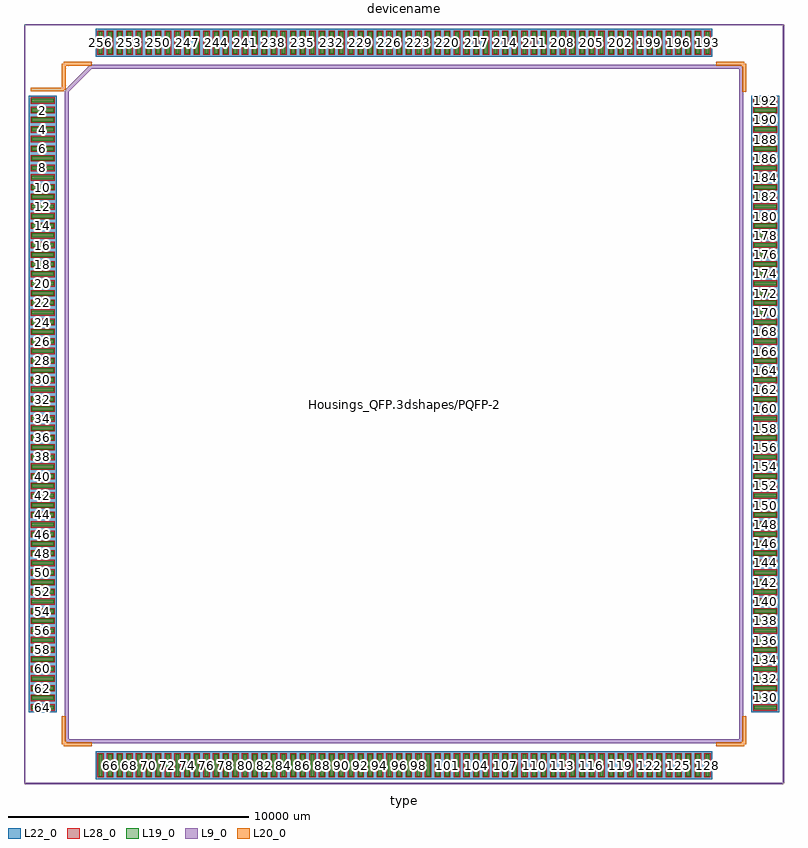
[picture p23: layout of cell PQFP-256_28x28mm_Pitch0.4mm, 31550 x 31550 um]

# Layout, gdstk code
import gdstk
lib = gdstk.Library(unit=1e-6, precision=1e-09)
def R(c, l, rs):  # rectangles x0, y0, x1, y1
    for r in rs: c.add(gdstk.rectangle(r[:2], r[2:], *l))
def A(c, l, x, y, w, h, nx, ny, dx, dy):  # array of equal rectangles
    R(c, l, [(x+i*dx, y+j*dy, x+i*dx+w, y+j*dy+h) for i in range(nx) for j in range(ny)])
L9_0 = (9, 0)
L19_0 = (19, 0)
L20_0 = (20, 0)
L22_0 = (22, 0)
L28_0 = (28, 0)

pqfp_256_28x28mm_pitch0_ = lib.new_cell('PQFP-256_28x28mm_Pitch0.4mm')
A(pqfp_256_28x28mm_pitch0_, L19_0, -12680, -15450, 160, 900, 64, 2, 400, 30000)
A(pqfp_256_28x28mm_pitch0_, L19_0, -15450, -12680, 900, 160, 1, 64, 0, 400)
A(pqfp_256_28x28mm_pitch0_, L19_0, 14550, -12680, 900, 160, 1, 64, 0, 400)
A(pqfp_256_28x28mm_pitch0_, L22_0, -12805, -15575, 410, 1150, 64, 2, 400, 30000)
A(pqfp_256_28x28mm_pitch0_, L22_0, -15575, -12805, 1150, 410, 1, 64, 0, 400)
A(pqfp_256_28x28mm_pitch0_, L22_0, 14425, -12805, 1150, 410, 1, 64, 0, 400)
A(pqfp_256_28x28mm_pitch0_, L28_0, -12730, -15500, 260, 1000, 64, 2, 400, 30000)
A(pqfp_256_28x28mm_pitch0_, L28_0, -15500, -12730, 1000, 260, 1, 64, 0, 400)
A(pqfp_256_28x28mm_pitch0_, L28_0, 14500, -12730, 1000, 260, 1, 64, 0, 400)
pqfp_256_28x28mm_pitch0_.add(gdstk.FlexPath([(-14125,13050),(-15500,13050)], 149.998, ends="flush", simple_path=True, layer=20, datatype=0))  # L20_0
pqfp_256_28x28mm_pitch0_.add(gdstk.FlexPath([(14125,14125),(12955,14125)], 149.998, ends="flush", simple_path=True, layer=20, datatype=0))  # L20_0
pqfp_256_28x28mm_pitch0_.add(gdstk.FlexPath([(14125,-14125),(12955,-14125)], 149.998, ends="flush", simple_path=True, layer=20, datatype=0))  # L20_0
pqfp_256_28x28mm_pitch0_.add(gdstk.FlexPath([(-14125,-14125),(-12955,-14125)], 149.998, ends="flush", simple_path=True, layer=20, datatype=0))  # L20_0
pqfp_256_28x28mm_pitch0_.add(gdstk.FlexPath([(-14125,14125),(-12955,14125)], 149.998, ends="flush", simple_path=True, layer=20, datatype=0))  # L20_0
pqfp_256_28x28mm_pitch0_.add(gdstk.FlexPath([(-14125,-14125),(-14125,-12955)], 149.998, ends="flush", simple_path=True, layer=20, datatype=0))  # L20_0
pqfp_256_28x28mm_pitch0_.add(gdstk.FlexPath([(14125,-14125),(14125,-12955)], 149.998, ends="flush", simple_path=True, layer=20, datatype=0))  # L20_0
pqfp_256_28x28mm_pitch0_.add(gdstk.FlexPath([(14125,14125),(14125,12955)], 149.998, ends="flush", simple_path=True, layer=20, datatype=0))  # L20_0
pqfp_256_28x28mm_pitch0_.add(gdstk.FlexPath([(-14125,14125),(-14125,13050)], 149.998, ends="flush", simple_path=True, layer=20, datatype=0))  # L20_0
pqfp_256_28x28mm_pitch0_.add(gdstk.FlexPath([(-15750,-15750),(15750,-15750)], 50, ends="flush", simple_path=True, layer=9, datatype=0))  # L9_0
pqfp_256_28x28mm_pitch0_.add(gdstk.FlexPath([(-15750,15750),(15750,15750)], 50, ends="flush", simple_path=True, layer=9, datatype=0))  # L9_0
pqfp_256_28x28mm_pitch0_.add(gdstk.FlexPath([(15750,15750),(15750,-15750)], 50, ends="flush", simple_path=True, layer=9, datatype=0))  # L9_0
pqfp_256_28x28mm_pitch0_.add(gdstk.FlexPath([(-15750,15750),(-15750,-15750)], 50, ends="flush", simple_path=True, layer=9, datatype=0))  # L9_0
pqfp_256_28x28mm_pitch0_.add(gdstk.FlexPath([(-14000,13000),(-13000,14000)], 149.998, ends="flush", simple_path=True, layer=9, datatype=0))  # L9_0
pqfp_256_28x28mm_pitch0_.add(gdstk.FlexPath([(-14000,-14000),(-14000,13000)], 149.998, ends="flush", simple_path=True, layer=9, datatype=0))  # L9_0
pqfp_256_28x28mm_pitch0_.add(gdstk.FlexPath([(14000,-14000),(-14000,-14000)], 149.998, ends="flush", simple_path=True, layer=9, datatype=0))  # L9_0
pqfp_256_28x28mm_pitch0_.add(gdstk.FlexPath([(14000,14000),(14000,-14000)], 149.998, ends="flush", simple_path=True, layer=9, datatype=0))  # L9_0
pqfp_256_28x28mm_pitch0_.add(gdstk.FlexPath([(-13000,14000),(14000,14000)], 149.998, ends="flush", simple_path=True, layer=9, datatype=0))  # L9_0
pqfp_256_28x28mm_pitch0_.add(gdstk.Label('Housings_QFP.3dshapes/PQFP-256_28x28mm_Pitch0.4mm.wrl', (0,0), layer=12, texttype=0))
pqfp_256_28x28mm_pitch0_.add(gdstk.Label('256', (-12600,15000), layer=28, texttype=0))
pqfp_256_28x28mm_pitch0_.add(gdstk.Label('255', (-12200,15000), layer=28, texttype=0))
pqfp_256_28x28mm_pitch0_.add(gdstk.Label('254', (-11800,15000), layer=28, texttype=0))
pqfp_256_28x28mm_pitch0_.add(gdstk.Label('253', (-11400,15000), layer=28, texttype=0))
pqfp_256_28x28mm_pitch0_.add(gdstk.Label('252', (-11000,15000), layer=28, texttype=0))
pqfp_256_28x28mm_pitch0_.add(gdstk.Label('251', (-10600,15000), layer=28, texttype=0))
pqfp_256_28x28mm_pitch0_.add(gdstk.Label('250', (-10200,15000), layer=28, texttype=0))
pqfp_256_28x28mm_pitch0_.add(gdstk.Label('249', (-9800,15000), layer=28, texttype=0))
pqfp_256_28x28mm_pitch0_.add(gdstk.Label('248', (-9400,15000), layer=28, texttype=0))
pqfp_256_28x28mm_pitch0_.add(gdstk.Label('247', (-9000,15000), layer=28, texttype=0))
pqfp_256_28x28mm_pitch0_.add(gdstk.Label('246', (-8600,15000), layer=28, texttype=0))
pqfp_256_28x28mm_pitch0_.add(gdstk.Label('245', (-8200,15000), layer=28, texttype=0))
pqfp_256_28x28mm_pitch0_.add(gdstk.Label('244', (-7800,15000), layer=28, texttype=0))
pqfp_256_28x28mm_pitch0_.add(gdstk.Label('243', (-7400,15000), layer=28, texttype=0))
pqfp_256_28x28mm_pitch0_.add(gdstk.Label('242', (-7000,15000), layer=28, texttype=0))
pqfp_256_28x28mm_pitch0_.add(gdstk.Label('241', (-6600,15000), layer=28, texttype=0))
pqfp_256_28x28mm_pitch0_.add(gdstk.Label('240', (-6200,15000), layer=28, texttype=0))
pqfp_256_28x28mm_pitch0_.add(gdstk.Label('239', (-5800,15000), layer=28, texttype=0))
pqfp_256_28x28mm_pitch0_.add(gdstk.Label('238', (-5400,15000), layer=28, texttype=0))
pqfp_256_28x28mm_pitch0_.add(gdstk.Label('237', (-5000,15000), layer=28, texttype=0))
pqfp_256_28x28mm_pitch0_.add(gdstk.Label('236', (-4600,15000), layer=28, texttype=0))
pqfp_256_28x28mm_pitch0_.add(gdstk.Label('235', (-4200,15000), layer=28, texttype=0))
pqfp_256_28x28mm_pitch0_.add(gdstk.Label('234', (-3800,15000), layer=28, texttype=0))
pqfp_256_28x28mm_pitch0_.add(gdstk.Label('233', (-3400,15000), layer=28, texttype=0))
pqfp_256_28x28mm_pitch0_.add(gdstk.Label('232', (-3000,15000), layer=28, texttype=0))
pqfp_256_28x28mm_pitch0_.add(gdstk.Label('231', (-2600,15000), layer=28, texttype=0))
pqfp_256_28x28mm_pitch0_.add(gdstk.Label('230', (-2200,15000), layer=28, texttype=0))
pqfp_256_28x28mm_pitch0_.add(gdstk.Label('229', (-1800,15000), layer=28, texttype=0))
pqfp_256_28x28mm_pitch0_.add(gdstk.Label('228', (-1400,15000), layer=28, texttype=0))
pqfp_256_28x28mm_pitch0_.add(gdstk.Label('227', (-1000,15000), layer=28, texttype=0))
pqfp_256_28x28mm_pitch0_.add(gdstk.Label('226', (-600,15000), layer=28, texttype=0))
pqfp_256_28x28mm_pitch0_.add(gdstk.Label('225', (-200,15000), layer=28, texttype=0))
pqfp_256_28x28mm_pitch0_.add(gdstk.Label('224', (200,15000), layer=28, texttype=0))
pqfp_256_28x28mm_pitch0_.add(gdstk.Label('223', (600,15000), layer=28, texttype=0))
pqfp_256_28x28mm_pitch0_.add(gdstk.Label('222', (1000,15000), layer=28, texttype=0))
pqfp_256_28x28mm_pitch0_.add(gdstk.Label('221', (1400,15000), layer=28, texttype=0))
pqfp_256_28x28mm_pitch0_.add(gdstk.Label('220', (1800,15000), layer=28, texttype=0))
pqfp_256_28x28mm_pitch0_.add(gdstk.Label('219', (2200,15000), layer=28, texttype=0))
pqfp_256_28x28mm_pitch0_.add(gdstk.Label('218', (2600,15000), layer=28, texttype=0))
pqfp_256_28x28mm_pitch0_.add(gdstk.Label('217', (3000,15000), layer=28, texttype=0))
pqfp_256_28x28mm_pitch0_.add(gdstk.Label('216', (3400,15000), layer=28, texttype=0))
pqfp_256_28x28mm_pitch0_.add(gdstk.Label('215', (3800,15000), layer=28, texttype=0))
pqfp_256_28x28mm_pitch0_.add(gdstk.Label('214', (4200,15000), layer=28, texttype=0))
pqfp_256_28x28mm_pitch0_.add(gdstk.Label('213', (4600,15000), layer=28, texttype=0))
pqfp_256_28x28mm_pitch0_.add(gdstk.Label('212', (5000,15000), layer=28, texttype=0))
pqfp_256_28x28mm_pitch0_.add(gdstk.Label('211', (5400,15000), layer=28, texttype=0))
pqfp_256_28x28mm_pitch0_.add(gdstk.Label('210', (5800,15000), layer=28, texttype=0))
pqfp_256_28x28mm_pitch0_.add(gdstk.Label('209', (6200,15000), layer=28, texttype=0))
pqfp_256_28x28mm_pitch0_.add(gdstk.Label('208', (6600,15000), layer=28, texttype=0))
pqfp_256_28x28mm_pitch0_.add(gdstk.Label('207', (7000,15000), layer=28, texttype=0))
pqfp_256_28x28mm_pitch0_.add(gdstk.Label('206', (7400,15000), layer=28, texttype=0))
pqfp_256_28x28mm_pitch0_.add(gdstk.Label('205', (7800,15000), layer=28, texttype=0))
pqfp_256_28x28mm_pitch0_.add(gdstk.Label('204', (8200,15000), layer=28, texttype=0))
pqfp_256_28x28mm_pitch0_.add(gdstk.Label('203', (8600,15000), layer=28, texttype=0))
pqfp_256_28x28mm_pitch0_.add(gdstk.Label('202', (9000,15000), layer=28, texttype=0))
pqfp_256_28x28mm_pitch0_.add(gdstk.Label('201', (9400,15000), layer=28, texttype=0))
pqfp_256_28x28mm_pitch0_.add(gdstk.Label('200', (9800,15000), layer=28, texttype=0))
pqfp_256_28x28mm_pitch0_.add(gdstk.Label('199', (10200,15000), layer=28, texttype=0))
pqfp_256_28x28mm_pitch0_.add(gdstk.Label('198', (10600,15000), layer=28, texttype=0))
pqfp_256_28x28mm_pitch0_.add(gdstk.Label('197', (11000,15000), layer=28, texttype=0))
pqfp_256_28x28mm_pitch0_.add(gdstk.Label('196', (11400,15000), layer=28, texttype=0))
pqfp_256_28x28mm_pitch0_.add(gdstk.Label('195', (11800,15000), layer=28, texttype=0))
pqfp_256_28x28mm_pitch0_.add(gdstk.Label('194', (12200,15000), layer=28, texttype=0))
pqfp_256_28x28mm_pitch0_.add(gdstk.Label('193', (12600,15000), layer=28, texttype=0))
pqfp_256_28x28mm_pitch0_.add(gdstk.Label('192', (15000,12600), layer=28, texttype=0))
pqfp_256_28x28mm_pitch0_.add(gdstk.Label('191', (15000,12200), layer=28, texttype=0))
pqfp_256_28x28mm_pitch0_.add(gdstk.Label('190', (15000,11800), layer=28, texttype=0))
pqfp_256_28x28mm_pitch0_.add(gdstk.Label('189', (15000,11400), layer=28, texttype=0))
pqfp_256_28x28mm_pitch0_.add(gdstk.Label('188', (15000,11000), layer=28, texttype=0))
pqfp_256_28x28mm_pitch0_.add(gdstk.Label('187', (15000,10600), layer=28, texttype=0))
pqfp_256_28x28mm_pitch0_.add(gdstk.Label('186', (15000,10200), layer=28, texttype=0))
pqfp_256_28x28mm_pitch0_.add(gdstk.Label('185', (15000,9800), layer=28, texttype=0))
pqfp_256_28x28mm_pitch0_.add(gdstk.Label('184', (15000,9400), layer=28, texttype=0))
pqfp_256_28x28mm_pitch0_.add(gdstk.Label('183', (15000,9000), layer=28, texttype=0))
pqfp_256_28x28mm_pitch0_.add(gdstk.Label('182', (15000,8600), layer=28, texttype=0))
pqfp_256_28x28mm_pitch0_.add(gdstk.Label('181', (15000,8200), layer=28, texttype=0))
pqfp_256_28x28mm_pitch0_.add(gdstk.Label('180', (15000,7800), layer=28, texttype=0))
pqfp_256_28x28mm_pitch0_.add(gdstk.Label('179', (15000,7400), layer=28, texttype=0))
pqfp_256_28x28mm_pitch0_.add(gdstk.Label('178', (15000,7000), layer=28, texttype=0))
pqfp_256_28x28mm_pitch0_.add(gdstk.Label('177', (15000,6600), layer=28, texttype=0))
pqfp_256_28x28mm_pitch0_.add(gdstk.Label('176', (15000,6200), layer=28, texttype=0))
pqfp_256_28x28mm_pitch0_.add(gdstk.Label('175', (15000,5800), layer=28, texttype=0))
pqfp_256_28x28mm_pitch0_.add(gdstk.Label('174', (15000,5400), layer=28, texttype=0))
pqfp_256_28x28mm_pitch0_.add(gdstk.Label('173', (15000,5000), layer=28, texttype=0))
pqfp_256_28x28mm_pitch0_.add(gdstk.Label('172', (15000,4600), layer=28, texttype=0))
pqfp_256_28x28mm_pitch0_.add(gdstk.Label('171', (15000,4200), layer=28, texttype=0))
pqfp_256_28x28mm_pitch0_.add(gdstk.Label('170', (15000,3800), layer=28, texttype=0))
pqfp_256_28x28mm_pitch0_.add(gdstk.Label('169', (15000,3400), layer=28, texttype=0))
pqfp_256_28x28mm_pitch0_.add(gdstk.Label('168', (15000,3000), layer=28, texttype=0))
pqfp_256_28x28mm_pitch0_.add(gdstk.Label('167', (15000,2600), layer=28, texttype=0))
pqfp_256_28x28mm_pitch0_.add(gdstk.Label('166', (15000,2200), layer=28, texttype=0))
pqfp_256_28x28mm_pitch0_.add(gdstk.Label('165', (15000,1800), layer=28, texttype=0))
pqfp_256_28x28mm_pitch0_.add(gdstk.Label('164', (15000,1400), layer=28, texttype=0))
pqfp_256_28x28mm_pitch0_.add(gdstk.Label('163', (15000,1000), layer=28, texttype=0))
pqfp_256_28x28mm_pitch0_.add(gdstk.Label('162', (15000,600), layer=28, texttype=0))
pqfp_256_28x28mm_pitch0_.add(gdstk.Label('161', (15000,200), layer=28, texttype=0))
pqfp_256_28x28mm_pitch0_.add(gdstk.Label('160', (15000,-200), layer=28, texttype=0))
pqfp_256_28x28mm_pitch0_.add(gdstk.Label('159', (15000,-600), layer=28, texttype=0))
pqfp_256_28x28mm_pitch0_.add(gdstk.Label('158', (15000,-1000), layer=28, texttype=0))
pqfp_256_28x28mm_pitch0_.add(gdstk.Label('157', (15000,-1400), layer=28, texttype=0))
pqfp_256_28x28mm_pitch0_.add(gdstk.Label('156', (15000,-1800), layer=28, texttype=0))
pqfp_256_28x28mm_pitch0_.add(gdstk.Label('155', (15000,-2200), layer=28, texttype=0))
pqfp_256_28x28mm_pitch0_.add(gdstk.Label('154', (15000,-2600), layer=28, texttype=0))
pqfp_256_28x28mm_pitch0_.add(gdstk.Label('153', (15000,-3000), layer=28, texttype=0))
pqfp_256_28x28mm_pitch0_.add(gdstk.Label('152', (15000,-3400), layer=28, texttype=0))
pqfp_256_28x28mm_pitch0_.add(gdstk.Label('151', (15000,-3800), layer=28, texttype=0))
pqfp_256_28x28mm_pitch0_.add(gdstk.Label('150', (15000,-4200), layer=28, texttype=0))
pqfp_256_28x28mm_pitch0_.add(gdstk.Label('149', (15000,-4600), layer=28, texttype=0))
pqfp_256_28x28mm_pitch0_.add(gdstk.Label('148', (15000,-5000), layer=28, texttype=0))
pqfp_256_28x28mm_pitch0_.add(gdstk.Label('147', (15000,-5400), layer=28, texttype=0))
pqfp_256_28x28mm_pitch0_.add(gdstk.Label('146', (15000,-5800), layer=28, texttype=0))
pqfp_256_28x28mm_pitch0_.add(gdstk.Label('145', (15000,-6200), layer=28, texttype=0))
pqfp_256_28x28mm_pitch0_.add(gdstk.Label('144', (15000,-6600), layer=28, texttype=0))
pqfp_256_28x28mm_pitch0_.add(gdstk.Label('143', (15000,-7000), layer=28, texttype=0))
pqfp_256_28x28mm_pitch0_.add(gdstk.Label('142', (15000,-7400), layer=28, texttype=0))
pqfp_256_28x28mm_pitch0_.add(gdstk.Label('141', (15000,-7800), layer=28, texttype=0))
pqfp_256_28x28mm_pitch0_.add(gdstk.Label('140', (15000,-8200), layer=28, texttype=0))
pqfp_256_28x28mm_pitch0_.add(gdstk.Label('139', (15000,-8600), layer=28, texttype=0))
pqfp_256_28x28mm_pitch0_.add(gdstk.Label('138', (15000,-9000), layer=28, texttype=0))
pqfp_256_28x28mm_pitch0_.add(gdstk.Label('137', (15000,-9400), layer=28, texttype=0))
pqfp_256_28x28mm_pitch0_.add(gdstk.Label('136', (15000,-9800), layer=28, texttype=0))
pqfp_256_28x28mm_pitch0_.add(gdstk.Label('135', (15000,-10200), layer=28, texttype=0))
pqfp_256_28x28mm_pitch0_.add(gdstk.Label('134', (15000,-10600), layer=28, texttype=0))
pqfp_256_28x28mm_pitch0_.add(gdstk.Label('133', (15000,-11000), layer=28, texttype=0))
pqfp_256_28x28mm_pitch0_.add(gdstk.Label('132', (15000,-11400), layer=28, texttype=0))
pqfp_256_28x28mm_pitch0_.add(gdstk.Label('131', (15000,-11800), layer=28, texttype=0))
pqfp_256_28x28mm_pitch0_.add(gdstk.Label('130', (15000,-12200), layer=28, texttype=0))
pqfp_256_28x28mm_pitch0_.add(gdstk.Label('129', (15000,-12600), layer=28, texttype=0))
pqfp_256_28x28mm_pitch0_.add(gdstk.Label('128', (12600,-15000), layer=28, texttype=0))
pqfp_256_28x28mm_pitch0_.add(gdstk.Label('127', (12200,-15000), layer=28, texttype=0))
pqfp_256_28x28mm_pitch0_.add(gdstk.Label('126', (11800,-15000), layer=28, texttype=0))
pqfp_256_28x28mm_pitch0_.add(gdstk.Label('125', (11400,-15000), layer=28, texttype=0))
pqfp_256_28x28mm_pitch0_.add(gdstk.Label('124', (11000,-15000), layer=28, texttype=0))
pqfp_256_28x28mm_pitch0_.add(gdstk.Label('123', (10600,-15000), layer=28, texttype=0))
pqfp_256_28x28mm_pitch0_.add(gdstk.Label('122', (10200,-15000), layer=28, texttype=0))
pqfp_256_28x28mm_pitch0_.add(gdstk.Label('121', (9800,-15000), layer=28, texttype=0))
pqfp_256_28x28mm_pitch0_.add(gdstk.Label('120', (9400,-15000), layer=28, texttype=0))
pqfp_256_28x28mm_pitch0_.add(gdstk.Label('119', (9000,-15000), layer=28, texttype=0))
pqfp_256_28x28mm_pitch0_.add(gdstk.Label('118', (8600,-15000), layer=28, texttype=0))
pqfp_256_28x28mm_pitch0_.add(gdstk.Label('117', (8200,-15000), layer=28, texttype=0))
pqfp_256_28x28mm_pitch0_.add(gdstk.Label('116', (7800,-15000), layer=28, texttype=0))
pqfp_256_28x28mm_pitch0_.add(gdstk.Label('115', (7400,-15000), layer=28, texttype=0))
pqfp_256_28x28mm_pitch0_.add(gdstk.Label('114', (7000,-15000), layer=28, texttype=0))
pqfp_256_28x28mm_pitch0_.add(gdstk.Label('113', (6600,-15000), layer=28, texttype=0))
pqfp_256_28x28mm_pitch0_.add(gdstk.Label('112', (6200,-15000), layer=28, texttype=0))
pqfp_256_28x28mm_pitch0_.add(gdstk.Label('111', (5800,-15000), layer=28, texttype=0))
pqfp_256_28x28mm_pitch0_.add(gdstk.Label('110', (5400,-15000), layer=28, texttype=0))
pqfp_256_28x28mm_pitch0_.add(gdstk.Label('109', (5000,-15000), layer=28, texttype=0))
pqfp_256_28x28mm_pitch0_.add(gdstk.Label('108', (4600,-15000), layer=28, texttype=0))
pqfp_256_28x28mm_pitch0_.add(gdstk.Label('107', (4200,-15000), layer=28, texttype=0))
pqfp_256_28x28mm_pitch0_.add(gdstk.Label('106', (3800,-15000), layer=28, texttype=0))
pqfp_256_28x28mm_pitch0_.add(gdstk.Label('105', (3400,-15000), layer=28, texttype=0))
pqfp_256_28x28mm_pitch0_.add(gdstk.Label('104', (3000,-15000), layer=28, texttype=0))
pqfp_256_28x28mm_pitch0_.add(gdstk.Label('103', (2600,-15000), layer=28, texttype=0))
pqfp_256_28x28mm_pitch0_.add(gdstk.Label('102', (2200,-15000), layer=28, texttype=0))
pqfp_256_28x28mm_pitch0_.add(gdstk.Label('101', (1800,-15000), layer=28, texttype=0))
pqfp_256_28x28mm_pitch0_.add(gdstk.Label('100', (1400,-15000), layer=28, texttype=0))
pqfp_256_28x28mm_pitch0_.add(gdstk.Label('99', (1000,-15000), layer=28, texttype=0))
pqfp_256_28x28mm_pitch0_.add(gdstk.Label('98', (600,-15000), layer=28, texttype=0))
pqfp_256_28x28mm_pitch0_.add(gdstk.Label('97', (200,-15000), layer=28, texttype=0))
pqfp_256_28x28mm_pitch0_.add(gdstk.Label('96', (-200,-15000), layer=28, texttype=0))
pqfp_256_28x28mm_pitch0_.add(gdstk.Label('95', (-600,-15000), layer=28, texttype=0))
pqfp_256_28x28mm_pitch0_.add(gdstk.Label('94', (-1000,-15000), layer=28, texttype=0))
pqfp_256_28x28mm_pitch0_.add(gdstk.Label('93', (-1400,-15000), layer=28, texttype=0))
pqfp_256_28x28mm_pitch0_.add(gdstk.Label('92', (-1800,-15000), layer=28, texttype=0))
pqfp_256_28x28mm_pitch0_.add(gdstk.Label('91', (-2200,-15000), layer=28, texttype=0))
pqfp_256_28x28mm_pitch0_.add(gdstk.Label('90', (-2600,-15000), layer=28, texttype=0))
pqfp_256_28x28mm_pitch0_.add(gdstk.Label('89', (-3000,-15000), layer=28, texttype=0))
pqfp_256_28x28mm_pitch0_.add(gdstk.Label('88', (-3400,-15000), layer=28, texttype=0))
pqfp_256_28x28mm_pitch0_.add(gdstk.Label('87', (-3800,-15000), layer=28, texttype=0))
pqfp_256_28x28mm_pitch0_.add(gdstk.Label('86', (-4200,-15000), layer=28, texttype=0))
pqfp_256_28x28mm_pitch0_.add(gdstk.Label('85', (-4600,-15000), layer=28, texttype=0))
pqfp_256_28x28mm_pitch0_.add(gdstk.Label('84', (-5000,-15000), layer=28, texttype=0))
pqfp_256_28x28mm_pitch0_.add(gdstk.Label('83', (-5400,-15000), layer=28, texttype=0))
pqfp_256_28x28mm_pitch0_.add(gdstk.Label('82', (-5800,-15000), layer=28, texttype=0))
pqfp_256_28x28mm_pitch0_.add(gdstk.Label('81', (-6200,-15000), layer=28, texttype=0))
pqfp_256_28x28mm_pitch0_.add(gdstk.Label('80', (-6600,-15000), layer=28, texttype=0))
pqfp_256_28x28mm_pitch0_.add(gdstk.Label('79', (-7000,-15000), layer=28, texttype=0))
pqfp_256_28x28mm_pitch0_.add(gdstk.Label('78', (-7400,-15000), layer=28, texttype=0))
pqfp_256_28x28mm_pitch0_.add(gdstk.Label('77', (-7800,-15000), layer=28, texttype=0))
pqfp_256_28x28mm_pitch0_.add(gdstk.Label('76', (-8200,-15000), layer=28, texttype=0))
pqfp_256_28x28mm_pitch0_.add(gdstk.Label('75', (-8600,-15000), layer=28, texttype=0))
pqfp_256_28x28mm_pitch0_.add(gdstk.Label('74', (-9000,-15000), layer=28, texttype=0))
pqfp_256_28x28mm_pitch0_.add(gdstk.Label('73', (-9400,-15000), layer=28, texttype=0))
pqfp_256_28x28mm_pitch0_.add(gdstk.Label('72', (-9800,-15000), layer=28, texttype=0))
pqfp_256_28x28mm_pitch0_.add(gdstk.Label('71', (-10200,-15000), layer=28, texttype=0))
pqfp_256_28x28mm_pitch0_.add(gdstk.Label('70', (-10600,-15000), layer=28, texttype=0))
pqfp_256_28x28mm_pitch0_.add(gdstk.Label('69', (-11000,-15000), layer=28, texttype=0))
pqfp_256_28x28mm_pitch0_.add(gdstk.Label('68', (-11400,-15000), layer=28, texttype=0))
pqfp_256_28x28mm_pitch0_.add(gdstk.Label('67', (-11800,-15000), layer=28, texttype=0))
pqfp_256_28x28mm_pitch0_.add(gdstk.Label('66', (-12200,-15000), layer=28, texttype=0))
pqfp_256_28x28mm_pitch0_.add(gdstk.Label('65', (-12600,-15000), layer=28, texttype=0))
pqfp_256_28x28mm_pitch0_.add(gdstk.Label('64', (-15000,-12600), layer=28, texttype=0))
pqfp_256_28x28mm_pitch0_.add(gdstk.Label('63', (-15000,-12200), layer=28, texttype=0))
pqfp_256_28x28mm_pitch0_.add(gdstk.Label('62', (-15000,-11800), layer=28, texttype=0))
pqfp_256_28x28mm_pitch0_.add(gdstk.Label('61', (-15000,-11400), layer=28, texttype=0))
pqfp_256_28x28mm_pitch0_.add(gdstk.Label('60', (-15000,-11000), layer=28, texttype=0))
pqfp_256_28x28mm_pitch0_.add(gdstk.Label('59', (-15000,-10600), layer=28, texttype=0))
pqfp_256_28x28mm_pitch0_.add(gdstk.Label('58', (-15000,-10200), layer=28, texttype=0))
pqfp_256_28x28mm_pitch0_.add(gdstk.Label('57', (-15000,-9800), layer=28, texttype=0))
pqfp_256_28x28mm_pitch0_.add(gdstk.Label('56', (-15000,-9400), layer=28, texttype=0))
pqfp_256_28x28mm_pitch0_.add(gdstk.Label('55', (-15000,-9000), layer=28, texttype=0))
pqfp_256_28x28mm_pitch0_.add(gdstk.Label('54', (-15000,-8600), layer=28, texttype=0))
pqfp_256_28x28mm_pitch0_.add(gdstk.Label('53', (-15000,-8200), layer=28, texttype=0))
pqfp_256_28x28mm_pitch0_.add(gdstk.Label('52', (-15000,-7800), layer=28, texttype=0))
pqfp_256_28x28mm_pitch0_.add(gdstk.Label('51', (-15000,-7400), layer=28, texttype=0))
pqfp_256_28x28mm_pitch0_.add(gdstk.Label('50', (-15000,-7000), layer=28, texttype=0))
pqfp_256_28x28mm_pitch0_.add(gdstk.Label('49', (-15000,-6600), layer=28, texttype=0))
pqfp_256_28x28mm_pitch0_.add(gdstk.Label('48', (-15000,-6200), layer=28, texttype=0))
pqfp_256_28x28mm_pitch0_.add(gdstk.Label('47', (-15000,-5800), layer=28, texttype=0))
pqfp_256_28x28mm_pitch0_.add(gdstk.Label('46', (-15000,-5400), layer=28, texttype=0))
pqfp_256_28x28mm_pitch0_.add(gdstk.Label('45', (-15000,-5000), layer=28, texttype=0))
pqfp_256_28x28mm_pitch0_.add(gdstk.Label('44', (-15000,-4600), layer=28, texttype=0))
pqfp_256_28x28mm_pitch0_.add(gdstk.Label('43', (-15000,-4200), layer=28, texttype=0))
pqfp_256_28x28mm_pitch0_.add(gdstk.Label('42', (-15000,-3800), layer=28, texttype=0))
pqfp_256_28x28mm_pitch0_.add(gdstk.Label('41', (-15000,-3400), layer=28, texttype=0))
pqfp_256_28x28mm_pitch0_.add(gdstk.Label('40', (-15000,-3000), layer=28, texttype=0))
pqfp_256_28x28mm_pitch0_.add(gdstk.Label('39', (-15000,-2600), layer=28, texttype=0))
pqfp_256_28x28mm_pitch0_.add(gdstk.Label('38', (-15000,-2200), layer=28, texttype=0))
pqfp_256_28x28mm_pitch0_.add(gdstk.Label('37', (-15000,-1800), layer=28, texttype=0))
pqfp_256_28x28mm_pitch0_.add(gdstk.Label('36', (-15000,-1400), layer=28, texttype=0))
pqfp_256_28x28mm_pitch0_.add(gdstk.Label('35', (-15000,-1000), layer=28, texttype=0))
pqfp_256_28x28mm_pitch0_.add(gdstk.Label('34', (-15000,-600), layer=28, texttype=0))
pqfp_256_28x28mm_pitch0_.add(gdstk.Label('33', (-15000,-200), layer=28, texttype=0))
pqfp_256_28x28mm_pitch0_.add(gdstk.Label('32', (-15000,200), layer=28, texttype=0))
pqfp_256_28x28mm_pitch0_.add(gdstk.Label('31', (-15000,600), layer=28, texttype=0))
pqfp_256_28x28mm_pitch0_.add(gdstk.Label('30', (-15000,1000), layer=28, texttype=0))
pqfp_256_28x28mm_pitch0_.add(gdstk.Label('29', (-15000,1400), layer=28, texttype=0))
pqfp_256_28x28mm_pitch0_.add(gdstk.Label('28', (-15000,1800), layer=28, texttype=0))
pqfp_256_28x28mm_pitch0_.add(gdstk.Label('27', (-15000,2200), layer=28, texttype=0))
pqfp_256_28x28mm_pitch0_.add(gdstk.Label('26', (-15000,2600), layer=28, texttype=0))
pqfp_256_28x28mm_pitch0_.add(gdstk.Label('25', (-15000,3000), layer=28, texttype=0))
pqfp_256_28x28mm_pitch0_.add(gdstk.Label('24', (-15000,3400), layer=28, texttype=0))
pqfp_256_28x28mm_pitch0_.add(gdstk.Label('23', (-15000,3800), layer=28, texttype=0))
pqfp_256_28x28mm_pitch0_.add(gdstk.Label('22', (-15000,4200), layer=28, texttype=0))
pqfp_256_28x28mm_pitch0_.add(gdstk.Label('21', (-15000,4600), layer=28, texttype=0))
pqfp_256_28x28mm_pitch0_.add(gdstk.Label('20', (-15000,5000), layer=28, texttype=0))
pqfp_256_28x28mm_pitch0_.add(gdstk.Label('19', (-15000,5400), layer=28, texttype=0))
pqfp_256_28x28mm_pitch0_.add(gdstk.Label('18', (-15000,5800), layer=28, texttype=0))
pqfp_256_28x28mm_pitch0_.add(gdstk.Label('17', (-15000,6200), layer=28, texttype=0))
pqfp_256_28x28mm_pitch0_.add(gdstk.Label('16', (-15000,6600), layer=28, texttype=0))
pqfp_256_28x28mm_pitch0_.add(gdstk.Label('15', (-15000,7000), layer=28, texttype=0))
pqfp_256_28x28mm_pitch0_.add(gdstk.Label('14', (-15000,7400), layer=28, texttype=0))
pqfp_256_28x28mm_pitch0_.add(gdstk.Label('13', (-15000,7800), layer=28, texttype=0))
pqfp_256_28x28mm_pitch0_.add(gdstk.Label('12', (-15000,8200), layer=28, texttype=0))
pqfp_256_28x28mm_pitch0_.add(gdstk.Label('11', (-15000,8600), layer=28, texttype=0))
pqfp_256_28x28mm_pitch0_.add(gdstk.Label('10', (-15000,9000), layer=28, texttype=0))
pqfp_256_28x28mm_pitch0_.add(gdstk.Label('9', (-15000,9400), layer=28, texttype=0))
pqfp_256_28x28mm_pitch0_.add(gdstk.Label('8', (-15000,9800), layer=28, texttype=0))
pqfp_256_28x28mm_pitch0_.add(gdstk.Label('7', (-15000,10200), layer=28, texttype=0))
pqfp_256_28x28mm_pitch0_.add(gdstk.Label('6', (-15000,10600), layer=28, texttype=0))
pqfp_256_28x28mm_pitch0_.add(gdstk.Label('5', (-15000,11000), layer=28, texttype=0))
pqfp_256_28x28mm_pitch0_.add(gdstk.Label('4', (-15000,11400), layer=28, texttype=0))
pqfp_256_28x28mm_pitch0_.add(gdstk.Label('3', (-15000,11800), layer=28, texttype=0))
pqfp_256_28x28mm_pitch0_.add(gdstk.Label('2', (-15000,12200), layer=28, texttype=0))
pqfp_256_28x28mm_pitch0_.add(gdstk.Label('1', (-15000,12600), layer=28, texttype=0))
pqfp_256_28x28mm_pitch0_.add(gdstk.Label('%R', (0,0), layer=9, texttype=0))
pqfp_256_28x28mm_pitch0_.add(gdstk.Label('type', (0,-16500), layer=9, texttype=0))
pqfp_256_28x28mm_pitch0_.add(gdstk.Label('devicename', (0,16500), layer=9, texttype=0))

lib.write_gds('PQFP-256_28x28mm_Pitch0.4mm.gds')
